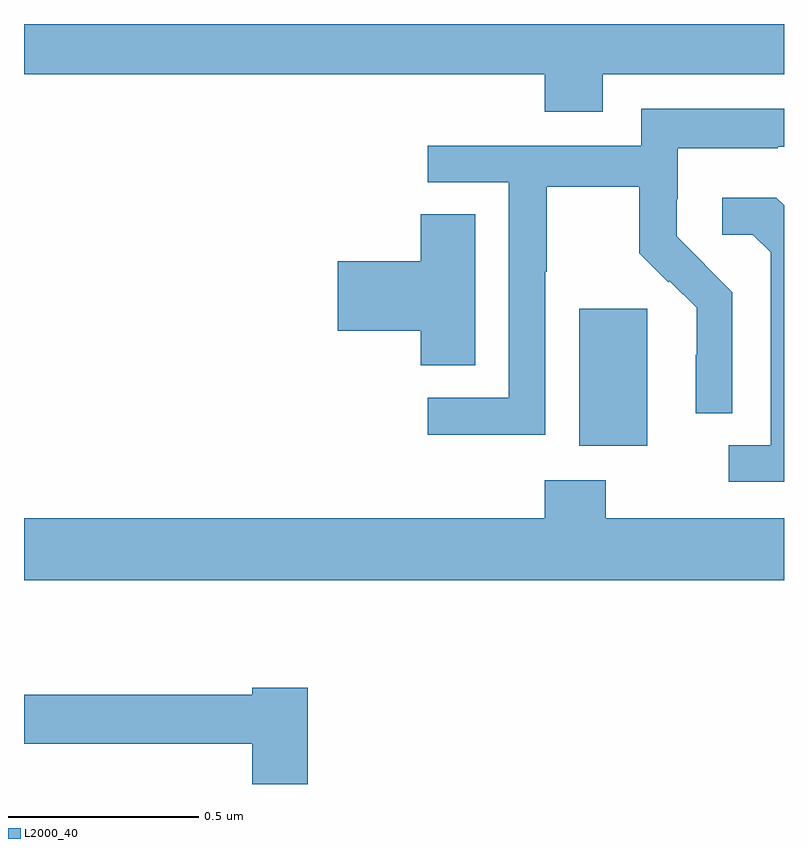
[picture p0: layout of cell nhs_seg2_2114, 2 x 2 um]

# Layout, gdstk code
import gdstk
lib = gdstk.Library(unit=1e-6, precision=1e-09)
def R(c, l, rs):  # rectangles x0, y0, x1, y1
    for r in rs: c.add(gdstk.rectangle(r[:2], r[2:], *l))
def P(c, l, *ps):  # polygons
    for p in ps: c.add(gdstk.Polygon(p, *l))
L2000_40 = (2000, 40)

nhs_seg2_2114 = lib.new_cell('nhs_seg2_2114')
R(nhs_seg2_2114, L2000_40, [(138.461,614.69,138.64,615.051)])
P(nhs_seg2_2114, L2000_40, [(138.523,615.668),(139,615.668),(139,615.8),(137,615.8),(137,615.668),(138.371,615.668),(138.371,615.569),(138.523,615.569)],
  [(138.372,615.148),(138.375,615.148),(138.375,615.372),(138.619,615.372),(138.619,615.197),(138.696,615.12),(138.699,615.123),(138.77,615.053),(138.77,614.93),(138.768,614.93),(138.768,614.776),(138.864,614.776),(138.864,615.094),(138.791,615.167),(138.792,615.168),(138.718,615.242),(138.718,615.339),(138.72,615.339),(138.72,615.473),(138.983,615.473),(138.983,615.477),(139,615.477),(139,615.577),(138.624,615.577),(138.624,615.48),(138.063,615.48),(138.063,615.384),(138.276,615.384),(138.276,614.817),(138.063,614.817),(138.063,614.719),(138.372,614.719)],
  [(139,615.323),(138.98,615.343),(138.837,615.343),(138.837,615.246),(138.918,615.246),(138.965,615.199),(138.965,614.691),(138.855,614.691),(138.855,614.595),(139,614.595)],
  [(138.187,615.299),(138.044,615.299),(138.044,615.176),(137.826,615.176),(137.826,614.993),(138.044,614.993),(138.044,614.902),(138.187,614.902)],
  [(139,614.5),(138.531,614.5),(138.531,614.599),(138.371,614.599),(138.371,614.5),(137,614.5),(137,614.336),(139,614.336)],
  [(137.747,614.053),(137.6,614.053),(137.6,614.035),(137,614.035),(137,613.906),(137.6,613.906),(137.6,613.8),(137.747,613.8)])

lib.write_gds('nhs_seg2_2114.gds')
